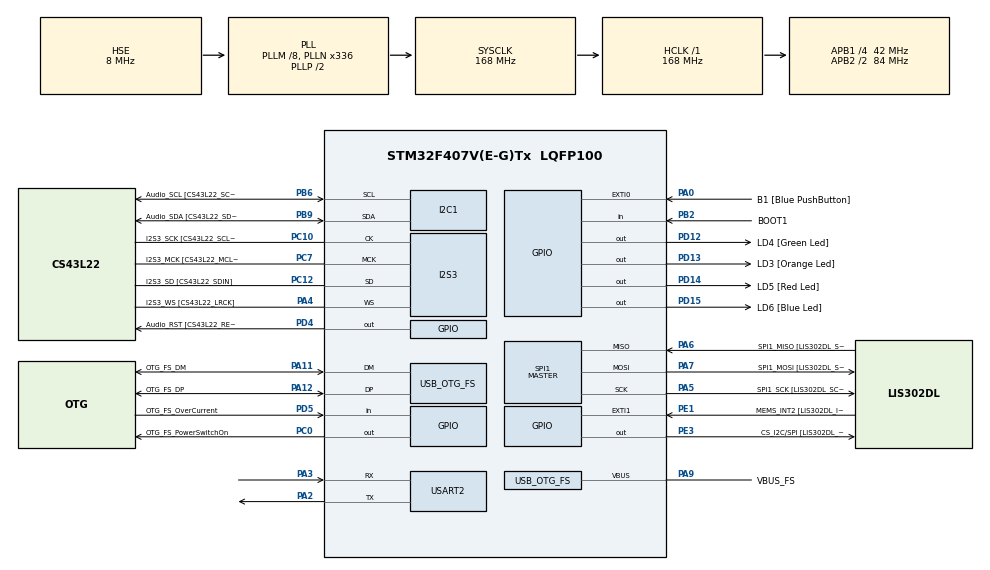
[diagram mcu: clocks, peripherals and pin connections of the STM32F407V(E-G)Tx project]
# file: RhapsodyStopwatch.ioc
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PA11.GPIO_Speed=GPIO_SPEED_FREQ_LOW
PD12.GPIO_Label=LD4 [Green Led]
PH0-OSC_IN.Signal=RCC_OSC_IN
PC10.GPIO_PuPd=GPIO_NOPULL
SPI1.VirtualType=VM_MASTER
PB10.GPIO_PuPd=GPIO_NOPULL
PA10.GPIO_PuPd=GPIO_NOPULL
PC12.Signal=I2S3_SD
PA14.GPIO_Label=SWCLK
PA6.GPIO_Label=SPI1_MISO [LIS302DL_SDO]
PB6.GPIO_Label=Audio_SCL [CS43L22_SCL]
PC15-OSC32_OUT.GPIO_Label=PC15-OSC32_OUT
PC3.GPIO_Speed=GPIO_SPEED_FREQ_LOW
RCC.SYSCLKSource=RCC_SYSCLKSOURCE_PLLCLK
PA6.GPIO_Mode=GPIO_MODE_AF_PP
PD14.GPIO_Speed=GPIO_SPEED_FREQ_LOW
PA4.Mode=Half_Duplex_Master
SPI1.Direction=SPI_DIRECTION_2LINES
I2S3.AudioFreq-Half_Duplex_Master=I2S_AUDIOFREQ_96K
PD4.Signal=GPIO_Output
RCC.APB2TimFreq_Value=168000000
VP_TIM10_VS_ClockSourceINT.Mode=Enable_Timer
PB6.Signal=I2C1_SCL
PC7.Signal=I2S3_MCK
PB6.Mode=I2C
PC3.Signal=I2S2_SD
PE1.Signal=GPXTI1
USB_OTG_FS.phy_itface=HCD_PHY_EMBEDDED
PB2.Signal=GPIO_Input
I2S3.ErrorAudioFreq=-2.34 %
PA5.GPIO_PuPd=GPIO_NOPULL
I2S3.ErrorAudioFreq-Half_Duplex_Master=0.8 %
PD5.GPIO_Mode=GPIO_MODE_INPUT
PD14.GPIO_PuPd=GPIO_NOPULL
PB2.GPIO_PuPd=GPIO_NOPULL
SPI1.CalculateBaudRate-Full_Duplex_Master=42.0 MBits/s
Mcu.Package=LQFP100
PB9.Signal=I2C1_SDA
PD12.Signal=GPIO_Output
PB9.GPIO_PuPd=GPIO_NOPULL
PA10.Signal=USB_OTG_FS_ID
RCC.APB2CLKDivider=RCC_HCLK_DIV2
RCC.APB1TimFreq_Value=84000000
PC12.GPIO_PuPd=GPIO_NOPULL
PA6.GPIO_Speed=GPIO_SPEED_FREQ_LOW
PA12.GPIO_PuPd=GPIO_NOPULL
PA4.GPIO_Label=I2S3_WS [CS43L22_LRCK]
PD15.Signal=GPIO_Output
PC0.PinState=GPIO_PIN_SET
PA5.Mode=Full_Duplex_Master
I2S3.FullDuplexMode=I2S_FULLDUPLEXMODE_DISABLE
PA9.GPIO_Label=VBUS_FS
PB6.GPIO_PuPd=GPIO_NOPULL
PA11.GPIO_Label=OTG_FS_DM
PE1.GPIO_PuPd=GPIO_NOPULL
PC0.Signal=GPIO_Output
RCC.APB1CLKDivider=RCC_HCLK_DIV4
PC14-OSC32_IN.Signal=RCC_OSC32_IN
PA0-WKUP.GPIO_ModeDefaultEXTI=GPIO_MODE_EVT_RISING
PA0-WKUP.GPIO_Label=B1 [Blue PushButton]
PA0-WKUP.Signal=GPXTI0
USB_HOST0.BSP.STBoard=false
PA3.Mode=Asynchronous
PC10.GPIO_Mode=GPIO_MODE_AF_PP
PB10.GPIO_Mode=GPIO_MODE_AF_PP
PA9.Signal=USB_OTG_FS_VBUS
I2S3.VirtualMode=I2S_MODE_MASTER
PC7.GPIO_PuPd=GPIO_NOPULL
PB10.Signal=I2S2_CK
PA5.Signal=SPI1_SCK
PC12.Mode=Half_Duplex_Master
PE1.GPIO_Label=MEMS_INT2 [LIS302DL_INT2]
USB_HOST.VirtualModeFS=Cdc
PA7.GPIO_Speed=GPIO_SPEED_FREQ_LOW
PB2.GPIO_Mode=GPIO_MODE_INPUT
SPI1.Mode=SPI_MODE_MASTER
PD4.GPIO_Speed=GPIO_SPEED_FREQ_LOW
PE3.GPIO_PuPd=GPIO_NOPULL
PH1-OSC_OUT.GPIO_Label=PH1-OSC_OUT
PA13.Mode=Serial_Wire
PC7.GPIO_Label=I2S3_MCK [CS43L22_MCLK]
PA4.Signal=I2S3_WS
PC12.GPIO_Mode=GPIO_MODE_AF_PP
PA5.GPIO_Label=SPI1_SCK [LIS302DL_SCL/SPC]
PE3.GPIO_Speed=GPIO_SPEED_FREQ_LOW
PC12.GPIO_Label=I2S3_SD [CS43L22_SDIN]
PA11.Signal=USB_OTG_FS_DM
ProjectManager.HeapSize=0x200
NVIC.TIM1_UP_TIM10_IRQn=true\:0\:0\:false\:false\:true\:true\:true
NVIC.PriorityGroup=NVIC_PRIORITYGROUP_0
PE3.Signal=GPIO_Output
PC3.GPIO_Label=PDM_OUT [MP45DT02_DOUT]
PA0-WKUP.GPIO_PuPd=GPIO_NOPULL
I2S3.Instance=SPI$Index
PB6.GPIO_Speed=GPIO_SPEED_FREQ_LOW
SPI1.BaudRatePrescaler-Full_Duplex_Master=SPI_BAUDRATEPRESCALER_2
USB_HOST0.BSP.mode=Output
Mcu.Family=STM32F4
PC3.GPIO_Mode=GPIO_MODE_AF_PP
PA6.Mode=Full_Duplex_Master
RCC.CortexFreq_Value=168000000
PB10.GPIO_Speed=GPIO_SPEED_FREQ_LOW
PB6.GPIO_Mode=GPIO_MODE_AF_OD
PD15.GPIO_Speed=GPIO_SPEED_FREQ_LOW
PC10.Signal=I2S3_CK
PA7.GPIO_Mode=GPIO_MODE_AF_PP
PC0.GPIO_Label=OTG_FS_PowerSwitchOn
PA11.Mode=Host_Only
PC10.GPIO_Speed=GPIO_SPEED_FREQ_LOW
PA11.GPIO_PuPd=GPIO_NOPULL
ProjectManager.StackSize=0x400
SPI1.Mode-Full_Duplex_Master=SPI_MODE_MASTER
PD13.Signal=GPIO_Output
PA12.Signal=USB_OTG_FS_DP
RCC.HCLKFreq_Value=168000000
USB_HOST0.BSP.ip=GPIO
RCC.AHBFreq_Value=168000000
PH0-OSC_IN.Mode=HSE-External-Oscillator
PH0-OSC_IN.GPIO_Label=PH0-OSC_IN
PA9.GPIO_Mode=GPIO_MODE_INPUT
RCC.HSE_VALUE=8000000
PA4.GPIO_PuPd=GPIO_NOPULL
PA4.GPIO_Speed=GPIO_SPEED_FREQ_LOW
PA6.GPIO_PuPd=GPIO_NOPULL
PC14-OSC32_IN.Mode=LSE-External-Oscillator
PA14.Mode=Serial_Wire
PA10.GPIO_Label=OTG_FS_ID
PC7.GPIO_Mode=GPIO_MODE_AF_PP
USB_HOST0.BSP.i2creg=0
PH1-OSC_OUT.Mode=HSE-External-Oscillator
USB_HOST0.BSP.i2caddr=0
PD13.GPIO_Label=LD3 [Orange Led]
PA6.Signal=SPI1_MISO
USART2.VirtualMode=VM_ASYNC
USB_HOST.USBH_HandleTypeDef-CDC_FS=hUsbHostFS
PD5.GPIO_Label=OTG_FS_OverCurrent
NVIC.OTG_FS_IRQn=true\:0\:0\:false\:false\:true\:true\:true
PD15.GPIO_PuPd=GPIO_NOPULL
USB_OTG_FS.VirtualMode=Host_Only
PA10.GPIO_Speed=GPIO_SPEED_FREQ_LOW
USB_HOST0.BSP.name=Drive_VBUS_FS
PB9.GPIO_Speed=GPIO_SPEED_FREQ_LOW
PC14-OSC32_IN.GPIO_Label=PC14-OSC32_IN
PC0.GPIO_PuPd=GPIO_NOPULL
PA12.GPIO_Speed=GPIO_SPEED_FREQ_LOW
PA3.Signal=USART2_RX
PB3.GPIO_Label=SWO
TIM10.Prescaler=16799
PC15-OSC32_OUT.Mode=LSE-External-Oscillator
PD12.GPIO_Speed=GPIO_SPEED_FREQ_LOW
PD15.GPIO_Label=LD6 [Blue Led]
PA7.Mode=Full_Duplex_Master
PB9.GPIO_Label=Audio_SDA [CS43L22_SDA]
PC10.GPIO_Label=I2S3_SCK [CS43L22_SCLK]
USB_HOST0.BSP.solution=PC0
PC10.Mode=Half_Duplex_Master
USB_HOST.BSP.number=1
PD5.Signal=GPIO_Input
PE1.GPIO_ModeDefaultEXTI=GPIO_MODE_EVT_RISING
PA9.GPIO_PuPd=GPIO_NOPULL
PA12.GPIO_Label=OTG_FS_DP
PA10.GPIO_Mode=GPIO_MODE_AF_PP
PA13.Signal=SYS_JTMS-SWDIO
PD4.GPIO_PuPd=GPIO_NOPULL
PA9.Mode=Activate_VBUS
PC0.GPIO_Speed=GPIO_SPEED_FREQ_LOW
I2S3.RealAudioFreq-Half_Duplex_Master=96.774 KHz
ProjectManager.TargetToolchain=STM32CubeIDE
PB10.GPIO_Label=CLK_IN [MP45DT02_CLK]
PB9.Mode=I2C
PC15-OSC32_OUT.Signal=RCC_OSC32_OUT
PA7.GPIO_PuPd=GPIO_NOPULL
board=STM32F407G-DISC1
PD13.GPIO_Speed=GPIO_SPEED_FREQ_LOW
PC7.GPIO_Speed=GPIO_SPEED_FREQ_LOW
RCC.VCOOutputFreq_Value=336000000
PB9.GPIO_Mode=GPIO_MODE_AF_OD
PA12.GPIO_Mode=GPIO_MODE_AF_PP
TIM10.Period=9
PA4.GPIO_Mode=GPIO_MODE_AF_PP
RCC.APB2Freq_Value=84000000
USB_HOST0.BSP.api=Unknown
PD4.GPIO_Label=Audio_RST [CS43L22_RESET]
PH1-OSC_OUT.Signal=RCC_OSC_OUT
PD13.GPIO_PuPd=GPIO_NOPULL
PD5.GPIO_PuPd=GPIO_NOPULL
PD14.GPIO_Label=LD5 [Red Led]
Mcu.Name=STM32F407V(E-G)Tx
PA2.Signal=USART2_TX
PA13.GPIO_Label=SWDIO
PD14.Signal=GPIO_Output
RCC.48MHZClocksFreq_Value=48000000
PB3.Signal=SYS_JTDO-SWO
RCC.SYSCLKFreq_VALUE=168000000
PA7.GPIO_Label=SPI1_MOSI [LIS302DL_SDA/SDI/SDO]
PA12.Mode=Host_Only
VP_USB_HOST_VS_USB_HOST_CDC_FS.Mode=CDC_FS
PA14.Signal=SYS_JTCK-SWCLK
PB2.GPIO_Label=BOOT1
RCC.HSI_VALUE=16000000
PA5.GPIO_Speed=GPIO_SPEED_FREQ_LOW
RCC.PLLQ=7
I2S3.RealAudioFreq=93.75 KHz
RCC.PLLM=8
RCC.PLLN=336
PA2.Mode=Asynchronous
PE3.GPIO_Label=CS_I2C/SPI [LIS302DL_CS_I2C/SPI]
PC7.Mode=Master_Clock_Activated
PA11.GPIO_Mode=GPIO_MODE_AF_PP
RCC.APB1Freq_Value=42000000
PA5.GPIO_Mode=GPIO_MODE_AF_PP
PC12.GPIO_Speed=GPIO_SPEED_FREQ_LOW
PC3.GPIO_PuPd=GPIO_NOPULL
PD12.GPIO_PuPd=GPIO_NOPULL
PA7.Signal=SPI1_MOSI
USB_HOST0.BSP.instance=PC0

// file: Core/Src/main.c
/* USER CODE BEGIN Header */
/**
  ******************************************************************************
  * @file           : main.c
  * @brief          : Main program body
  ******************************************************************************
  * @attention
  *
  * <h2><center>&copy; Copyright (c) 2022 STMicroelectronics.
  * All rights reserved.</center></h2>
  *
  * This software component is licensed by ST under Ultimate Liberty license
  * SLA0044, the "License"; You may not use this file except in compliance with
  * the License. You may obtain a copy of the License at:
  *                             www.st.com/SLA0044
  *
  ******************************************************************************
  */
/* USER CODE END Header */
#include "main.h"
#include "usb_host.h"

/* USER CODE BEGIN Includes */
#include "stdio.h"
#include "RiC_IdfP.h"
#include "ssd1306.h"
#include "fonts.h"
/* USER CODE END Includes */

I2C_HandleTypeDef hi2c1;

I2S_HandleTypeDef hi2s3;

SPI_HandleTypeDef hspi1;

TIM_HandleTypeDef htim10;

UART_HandleTypeDef huart2;

void SystemClock_Config(void);
static void MX_GPIO_Init(void);
static void MX_I2C1_Init(void);
static void MX_I2S3_Init(void);
static void MX_SPI1_Init(void);
static void MX_TIM10_Init(void);
static void MX_USART2_UART_Init(void);
void MX_USB_HOST_Process(void);

/* USER CODE BEGIN PFP */
extern int Cortex_main(int argc, char* argv[]);
/* USER CODE END PFP */

/* USER CODE BEGIN 0 */
#ifdef __GNUC__
#define PUTCHAR_PROTOTYPE int __io_putchar(int ch)
#else
#define PUTCHAR_PROTOTYPE int fputc(int ch, FILE *f)
#endif /* __GNUC__ */
PUTCHAR_PROTOTYPE
{
	while((USART2->SR&(1<<7)) == 0);
	USART2->DR = ch;
  return ch;
}
void Init_Timer(){
	HAL_TIM_Base_Start_IT(&htim10);
}
int ReadButton(){
	return HAL_GPIO_ReadPin(GPIOA, GPIO_PIN_0);
}
/* USER CODE END 0 */

int main(void)
{

  /* MCU Configuration--------------------------------------------------------*/

  /* Reset of all peripherals, Initializes the Flash interface and the Systick. */
  HAL_Init();

  /* Configure the system clock */
  SystemClock_Config();

  /* Initialize all configured peripherals */
  MX_GPIO_Init();
  MX_I2C1_Init();
  MX_I2S3_Init();
  MX_SPI1_Init();
  MX_USB_HOST_Init();
  MX_TIM10_Init();
  MX_USART2_UART_Init();
  /* USER CODE BEGIN 2 */
  Cortex_main(0, NULL);

  ssd1306_Init();
  HAL_Delay(1000);
  ssd1306_Fill(Black);
  ssd1306_UpdateScreen();
  HAL_Delay(1000);
  ssd1306_SetCursor(0, 0);
  ssd1306_WriteString("Hello World", Font_11x18, White);
  ssd1306_SetCursor(0, 50);
  ssd1306_WriteString("ARM Cortex-M3", Font_7x10, White);
  ssd1306_UpdateScreen();
  /* USER CODE END 2 */

  /* Infinite loop */
  /* USER CODE BEGIN WHILE */
  int counter;
  unsigned char string[10];
  while (1)
  {
    /* USER CODE END WHILE */
    MX_USB_HOST_Process();

  }
}

void SystemClock_Config(void)
{
  RCC_OscInitTypeDef RCC_OscInitStruct = {0};
  RCC_ClkInitTypeDef RCC_ClkInitStruct = {0};
  RCC_PeriphCLKInitTypeDef PeriphClkInitStruct = {0};

  /** Configure the main internal regulator output voltage
  */
  __HAL_RCC_PWR_CLK_ENABLE();
  __HAL_PWR_VOLTAGESCALING_CONFIG(PWR_REGULATOR_VOLTAGE_SCALE1);
  /** Initializes the RCC Oscillators according to the specified parameters
  * in the RCC_OscInitTypeDef structure.
  */
  RCC_OscInitStruct.OscillatorType = RCC_OSCILLATORTYPE_HSE;
  RCC_OscInitStruct.HSEState = RCC_HSE_ON;
  RCC_OscInitStruct.PLL.PLLState = RCC_PLL_ON;
  RCC_OscInitStruct.PLL.PLLSource = RCC_PLLSOURCE_HSE;
  RCC_OscInitStruct.PLL.PLLM = 8;
  RCC_OscInitStruct.PLL.PLLN = 336;
  RCC_OscInitStruct.PLL.PLLP = RCC_PLLP_DIV2;
  RCC_OscInitStruct.PLL.PLLQ = 7;
  if (HAL_RCC_OscConfig(&RCC_OscInitStruct) != HAL_OK)
  {
    Error_Handler();
  }
  /** Initializes the CPU, AHB and APB buses clocks
  */
  RCC_ClkInitStruct.ClockType = RCC_CLOCKTYPE_HCLK|RCC_CLOCKTYPE_SYSCLK
                              |RCC_CLOCKTYPE_PCLK1|RCC_CLOCKTYPE_PCLK2;
  RCC_ClkInitStruct.SYSCLKSource = RCC_SYSCLKSOURCE_PLLCLK;
  RCC_ClkInitStruct.AHBCLKDivider = RCC_SYSCLK_DIV1;
  RCC_ClkInitStruct.APB1CLKDivider = RCC_HCLK_DIV4;
  RCC_ClkInitStruct.APB2CLKDivider = RCC_HCLK_DIV2;

  if (HAL_RCC_ClockConfig(&RCC_ClkInitStruct, FLASH_LATENCY_5) != HAL_OK)
  {
    Error_Handler();
  }
  PeriphClkInitStruct.PeriphClockSelection = RCC_PERIPHCLK_I2S;
  PeriphClkInitStruct.PLLI2S.PLLI2SN = 192;
  PeriphClkInitStruct.PLLI2S.PLLI2SR = 2;
  if (HAL_RCCEx_PeriphCLKConfig(&PeriphClkInitStruct) != HAL_OK)
  {
    Error_Handler();
  }
}

static void MX_I2C1_Init(void)
{

  hi2c1.Instance = I2C1;
  hi2c1.Init.ClockSpeed = 100000;
  hi2c1.Init.DutyCycle = I2C_DUTYCYCLE_2;
  hi2c1.Init.OwnAddress1 = 0;
  hi2c1.Init.AddressingMode = I2C_ADDRESSINGMODE_7BIT;
  hi2c1.Init.DualAddressMode = I2C_DUALADDRESS_DISABLE;
  hi2c1.Init.OwnAddress2 = 0;
  hi2c1.Init.GeneralCallMode = I2C_GENERALCALL_DISABLE;
  hi2c1.Init.NoStretchMode = I2C_NOSTRETCH_DISABLE;
  if (HAL_I2C_Init(&hi2c1) != HAL_OK)
  {
    Error_Handler();
  }

}

static void MX_I2S3_Init(void)
{

  hi2s3.Instance = SPI3;
  hi2s3.Init.Mode = I2S_MODE_MASTER_TX;
  hi2s3.Init.Standard = I2S_STANDARD_PHILIPS;
  hi2s3.Init.DataFormat = I2S_DATAFORMAT_16B;
  hi2s3.Init.MCLKOutput = I2S_MCLKOUTPUT_ENABLE;
  hi2s3.Init.AudioFreq = I2S_AUDIOFREQ_96K;
  hi2s3.Init.CPOL = I2S_CPOL_LOW;
  hi2s3.Init.ClockSource = I2S_CLOCK_PLL;
  hi2s3.Init.FullDuplexMode = I2S_FULLDUPLEXMODE_DISABLE;
  if (HAL_I2S_Init(&hi2s3) != HAL_OK)
  {
    Error_Handler();
  }

}

static void MX_SPI1_Init(void)
{

  /* SPI1 parameter configuration*/
  hspi1.Instance = SPI1;
  hspi1.Init.Mode = SPI_MODE_MASTER;
  hspi1.Init.Direction = SPI_DIRECTION_2LINES;
  hspi1.Init.DataSize = SPI_DATASIZE_8BIT;
  hspi1.Init.CLKPolarity = SPI_POLARITY_LOW;
  hspi1.Init.CLKPhase = SPI_PHASE_1EDGE;
  hspi1.Init.NSS = SPI_NSS_SOFT;
  hspi1.Init.BaudRatePrescaler = SPI_BAUDRATEPRESCALER_2;
  hspi1.Init.FirstBit = SPI_FIRSTBIT_MSB;
  hspi1.Init.TIMode = SPI_TIMODE_DISABLE;
  hspi1.Init.CRCCalculation = SPI_CRCCALCULATION_DISABLE;
  hspi1.Init.CRCPolynomial = 10;
  if (HAL_SPI_Init(&hspi1) != HAL_OK)
  {
    Error_Handler();
  }

}

static void MX_TIM10_Init(void)
{

  htim10.Instance = TIM10;
  htim10.Init.Prescaler = 16799;
  htim10.Init.CounterMode = TIM_COUNTERMODE_UP;
  htim10.Init.Period = 9;
  htim10.Init.ClockDivision = TIM_CLOCKDIVISION_DIV1;
  htim10.Init.AutoReloadPreload = TIM_AUTORELOAD_PRELOAD_DISABLE;
  if (HAL_TIM_Base_Init(&htim10) != HAL_OK)
  {
    Error_Handler();
  }

}

static void MX_USART2_UART_Init(void)
{

  huart2.Instance = USART2;
  huart2.Init.BaudRate = 115200;
  huart2.Init.WordLength = UART_WORDLENGTH_8B;
  huart2.Init.StopBits = UART_STOPBITS_1;
  huart2.Init.Parity = UART_PARITY_NONE;
  huart2.Init.Mode = UART_MODE_TX_RX;
  huart2.Init.HwFlowCtl = UART_HWCONTROL_NONE;
  huart2.Init.OverSampling = UART_OVERSAMPLING_16;
  if (HAL_UART_Init(&huart2) != HAL_OK)
  {
    Error_Handler();
  }

}

static void MX_GPIO_Init(void)
{
  GPIO_InitTypeDef GPIO_InitStruct = {0};

  /* GPIO Ports Clock Enable */
  __HAL_RCC_GPIOE_CLK_ENABLE();
  __HAL_RCC_GPIOC_CLK_ENABLE();
  __HAL_RCC_GPIOH_CLK_ENABLE();
  __HAL_RCC_GPIOA_CLK_ENABLE();
  __HAL_RCC_GPIOB_CLK_ENABLE();
  __HAL_RCC_GPIOD_CLK_ENABLE();

  /*Configure GPIO pin Output Level */
  HAL_GPIO_WritePin(CS_I2C_SPI_GPIO_Port, CS_I2C_SPI_Pin, GPIO_PIN_RESET);

  /*Configure GPIO pin Output Level */
  HAL_GPIO_WritePin(OTG_FS_PowerSwitchOn_GPIO_Port, OTG_FS_PowerSwitchOn_Pin, GPIO_PIN_SET);

  /*Configure GPIO pin Output Level */
  HAL_GPIO_WritePin(GPIOD, LD4_Pin|LD3_Pin|LD5_Pin|LD6_Pin
                          |Audio_RST_Pin, GPIO_PIN_RESET);

  /*Configure GPIO pin : CS_I2C_SPI_Pin */
  GPIO_InitStruct.Pin = CS_I2C_SPI_Pin;
  GPIO_InitStruct.Mode = GPIO_MODE_OUTPUT_PP;
  GPIO_InitStruct.Pull = GPIO_NOPULL;
  GPIO_InitStruct.Speed = GPIO_SPEED_FREQ_LOW;
  HAL_GPIO_Init(CS_I2C_SPI_GPIO_Port, &GPIO_InitStruct);

  /*Configure GPIO pin : OTG_FS_PowerSwitchOn_Pin */
  GPIO_InitStruct.Pin = OTG_FS_PowerSwitchOn_Pin;
  GPIO_InitStruct.Mode = GPIO_MODE_OUTPUT_PP;
  GPIO_InitStruct.Pull = GPIO_NOPULL;
  GPIO_InitStruct.Speed = GPIO_SPEED_FREQ_LOW;
  HAL_GPIO_Init(OTG_FS_PowerSwitchOn_GPIO_Port, &GPIO_InitStruct);

  /*Configure GPIO pin : PDM_OUT_Pin */
  GPIO_InitStruct.Pin = PDM_OUT_Pin;
  GPIO_InitStruct.Mode = GPIO_MODE_AF_PP;
  GPIO_InitStruct.Pull = GPIO_NOPULL;
  GPIO_InitStruct.Speed = GPIO_SPEED_FREQ_LOW;
  GPIO_InitStruct.Alternate = GPIO_AF5_SPI2;
  HAL_GPIO_Init(PDM_OUT_GPIO_Port, &GPIO_InitStruct);

  /*Configure GPIO pin : B1_Pin */
  GPIO_InitStruct.Pin = B1_Pin;
  GPIO_InitStruct.Mode = GPIO_MODE_EVT_RISING;
  GPIO_InitStruct.Pull = GPIO_NOPULL;
  HAL_GPIO_Init(B1_GPIO_Port, &GPIO_InitStruct);

  /*Configure GPIO pin : BOOT1_Pin */
  GPIO_InitStruct.Pin = BOOT1_Pin;
  GPIO_InitStruct.Mode = GPIO_MODE_INPUT;
  GPIO_InitStruct.Pull = GPIO_NOPULL;
  HAL_GPIO_Init(BOOT1_GPIO_Port, &GPIO_InitStruct);

  /*Configure GPIO pin : CLK_IN_Pin */
  GPIO_InitStruct.Pin = CLK_IN_Pin;
  GPIO_InitStruct.Mode = GPIO_MODE_AF_PP;
  GPIO_InitStruct.Pull = GPIO_NOPULL;
  GPIO_InitStruct.Speed = GPIO_SPEED_FREQ_LOW;
  GPIO_InitStruct.Alternate = GPIO_AF5_SPI2;
  HAL_GPIO_Init(CLK_IN_GPIO_Port, &GPIO_InitStruct);

  /*Configure GPIO pins : LD4_Pin LD3_Pin LD5_Pin LD6_Pin
                           Audio_RST_Pin */
  GPIO_InitStruct.Pin = LD4_Pin|LD3_Pin|LD5_Pin|LD6_Pin
                          |Audio_RST_Pin;
  GPIO_InitStruct.Mode = GPIO_MODE_OUTPUT_PP;
  GPIO_InitStruct.Pull = GPIO_NOPULL;
  GPIO_InitStruct.Speed = GPIO_SPEED_FREQ_LOW;
  HAL_GPIO_Init(GPIOD, &GPIO_InitStruct);

  /*Configure GPIO pin : OTG_FS_OverCurrent_Pin */
  GPIO_InitStruct.Pin = OTG_FS_OverCurrent_Pin;
  GPIO_InitStruct.Mode = GPIO_MODE_INPUT;
  GPIO_InitStruct.Pull = GPIO_NOPULL;
  HAL_GPIO_Init(OTG_FS_OverCurrent_GPIO_Port, &GPIO_InitStruct);

  /*Configure GPIO pin : MEMS_INT2_Pin */
  GPIO_InitStruct.Pin = MEMS_INT2_Pin;
  GPIO_InitStruct.Mode = GPIO_MODE_EVT_RISING;
  GPIO_InitStruct.Pull = GPIO_NOPULL;
  HAL_GPIO_Init(MEMS_INT2_GPIO_Port, &GPIO_InitStruct);

}

/* USER CODE BEGIN 4 */
void HAL_TIM_PeriodElapsedCallback(TIM_HandleTypeDef *htim)
{
	if (htim->Instance == TIM10) {
		RiCTick();
	  }
}
/* USER CODE END 4 */

void Error_Handler(void)
{
  __disable_irq();
  while (1)
  {
  }
}

/************************ (C) COPYRIGHT STMicroelectronics *****END OF FILE****/
